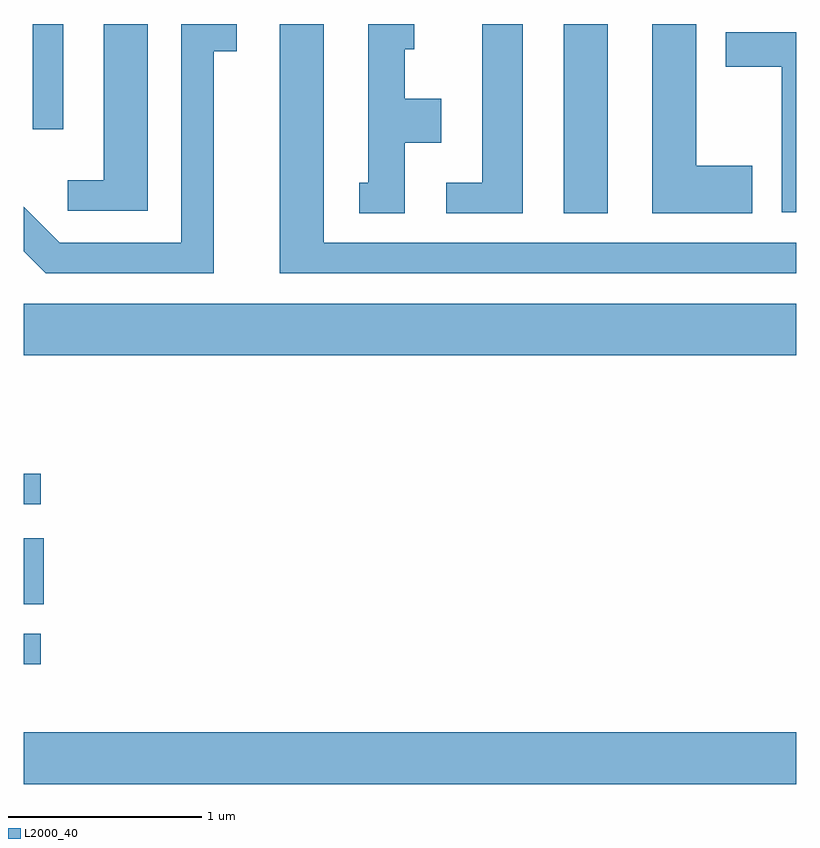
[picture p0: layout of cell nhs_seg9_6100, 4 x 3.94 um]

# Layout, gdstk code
import gdstk
lib = gdstk.Library(unit=1e-6, precision=1e-09)
def R(c, l, rs):  # rectangles x0, y0, x1, y1
    for r in rs: c.add(gdstk.rectangle(r[:2], r[2:], *l))
def P(c, l, *ps):  # polygons
    for p in ps: c.add(gdstk.Polygon(p, *l))
L2000_40 = (2000, 40)

nhs_seg9_6100 = lib.new_cell('nhs_seg9_6100')
R(nhs_seg9_6100, L2000_40, [(365.611,1978.496,369.611,1978.764), (365.611,1979.116,365.698,1979.274), (365.611,1979.426,365.714,1979.769), (365.611,1979.946,365.698,1980.104), (365.611,1980.716,369.611,1980.984), (368.406,1981.451,368.634,1982.432), (365.656,1981.888,365.814,1982.432)])
P(nhs_seg9_6100, L2000_40, [(369.611,1981.299),(367.164,1981.299),(367.164,1982.432),(366.936,1982.432),(366.936,1981.141),(369.611,1981.141)],
  [(366.594,1982.291),(366.713,1982.291),(366.713,1982.432),(366.426,1982.432),(366.426,1981.299),(365.797,1981.299),(365.611,1981.485),(365.611,1981.254),(365.724,1981.141),(366.594,1981.141)],
  [(368.194,1982.432),(367.986,1982.432),(367.986,1981.609),(367.798,1981.609),(367.798,1981.451),(368.194,1981.451)],
  [(367.584,1981.816),(367.774,1981.816),(367.774,1982.044),(367.584,1982.044),(367.584,1982.301),(367.633,1982.301),(367.633,1982.432),(367.396,1982.432),(367.396,1981.609),(367.348,1981.609),(367.348,1981.451),(367.584,1981.451)],
  [(369.384,1981.699),(369.094,1981.699),(369.094,1982.432),(368.866,1982.432),(368.866,1981.451),(369.384,1981.451)],
  [(366.254,1982.432),(366.026,1982.432),(366.026,1981.624),(365.838,1981.624),(365.838,1981.466),(366.254,1981.466)],
  [(369.611,1982.389),(369.246,1982.389),(369.246,1982.211),(369.536,1982.211),(369.536,1981.456),(369.611,1981.456)])

lib.write_gds('nhs_seg9_6100.gds')
